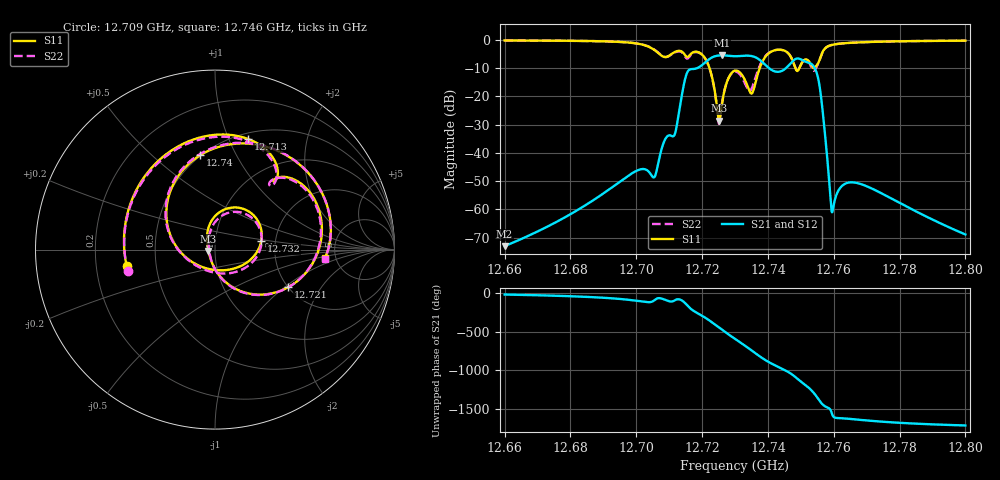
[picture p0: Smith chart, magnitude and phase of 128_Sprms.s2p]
! TOUCHSTONE file generated by CST MICROWAVE STUDIO
! Date and time: Wed Jul 31 17:15:51 2024
! Project name: WaveGuide_BPF-Ver4.1_U-shape_Ku_T3_C4_CWA_2.cst
! Parameters = {cavity_h=16; cavity_l0=10; cavity_l1=15.1802; cavity_l2=16.8472; cavity_l3=17.1051; cavity_l4=17.2406; cavity_l5=17.1155; cavity_l6=17.5807; cavity_r=2.5; cavity_screw_l=0.5; cavity_screw_r=1.5; cavity_w=8; iris_h00=0; iris_h01=8.8005; iris_h112=0; iris_h12=5.6124; iris_h211=3.6663; 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
! Header version: 2018
! Port assignment regex: !\s*Touchstone port\s*([0-9]+)\s*=\s*(CST MWS port|CST DS port)\s*([0-9]+|Zmin|Zmax)\s*\(\"(.*)\"\)(\s*mode\s*([0-9]+))?.*
! Touchstone port assignment:
! Touchstone port 1 = CST MWS port 1 ("")
! Touchstone port 2 = CST MWS port 2 ("")
# GHz S RI R 50
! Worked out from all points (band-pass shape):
!   5001 points, 12.66 GHz to 12.8 GHz, reference 50 ohm
!   highest |S21| = -5.42 dB at 12.726 GHz (marker M1); lowest = -73.1 dB at 12.66 GHz (marker M2)
!   |S21| within 3 dB of the highest: 12.72046 GHz to 12.73887 GHz (18.41 MHz wide, 0.145 % of centre); 12.74677 GHz to 12.75313 GHz (6.352 MHz wide, 0.0498 % of centre)
!   lowest |S11| = -28.6 dB at 12.725 GHz (marker M3), VSWR 1.08, Z = 46.5 - j0.664 ohm
!   |S11| at or under -10 dB: 12.72227 GHz to 12.7375 GHz (15.23 MHz wide, 0.12 % of centre); 12.74835 GHz to 12.74953 GHz (1.184 MHz wide, 0.00928 % of centre)
!   |S22| runs from -29.7 to -0.1 dB; largest |S21 - S12| = 1e-09
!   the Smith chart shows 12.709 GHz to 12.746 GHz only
!   S11 on the Smith chart (normalised r, x): 12.709 GHz: 0.34, -0.08; 12.713 GHz: 0.56, +1.18; 12.721 GHz: 2.01, -1.06; 12.732 GHz: 1.68, +0.17; 12.74 GHz: 0.49, +0.73; 12.746 GHz: 4.08, -0.62
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12.66  0.2144 0.9603  0.000213 -6.4e-05  0.000213 -6.4e-05  0.2225 0.9584
12.68335  0.5934 0.7618  0.000769 -0.000742  0.000769 -0.000742  0.6018 0.7552
12.70038  0.8633 -0.0505  -0.000768 -0.00484  -0.000768 -0.00484  0.8644 -0.0589
12.70668  -0.0103 -0.5889  0.00291 -0.00589  0.00291 -0.00589  0.00703 -0.5988
12.70903  -0.4924 -0.0899  0.000191 -0.0184  0.000191 -0.0184  -0.4861 -0.119
12.71331  0.1866 0.6155  0.00923 -0.0681  0.00923 -0.0681  0.186 0.6009
12.7165  0.3875 0.4051  -0.2868 0.1018  -0.2868 0.1018  0.3647 0.4007
12.72107  0.4087 -0.2091  0.3116 0.2615  0.3116 0.2615  0.4046 -0.2121
12.72518  -0.0367 -0.00714  0.0424 -0.5317  0.0424 -0.5317  -0.033 0.000365
12.726  -0.0446 0.0567  -0.1914 -0.5004  -0.1914 -0.5004  -0.0335 0.0651
12.73  0.2086 0.1971  -0.3231 0.4032  -0.3231 0.4032  0.2358 0.142
12.73162  0.2579 0.0483  0.0745 0.5161  0.0745 0.5161  0.2388 -0.0287
12.73462  0.0232 -0.1154  0.5199 -0.0741  0.5199 -0.0741  -0.0603 -0.1109
12.73955  -0.0832 0.5254  -0.3157 -0.1478  -0.3157 -0.1478  -0.0709 0.5398
12.74574  0.6123 -0.0476  0.1115 0.3082  0.1115 0.3082  0.611 -0.0534
12.75036  0.393 -0.0638  0.1057 -0.4318  0.1057 -0.4318  0.3875 -0.0824
12.75335  0.2694 -0.2136  -0.3706 0.0264  -0.3706 0.0264  0.2351 -0.21
12.75584  0.4528 -0.1218  0.1058 0.0821  0.1058 0.0821  0.4527 -0.1132
12.7596  0.43 -0.7033  -0.00067 -0.000614  -0.00067 -0.000614  0.4215 -0.7064
12.76466  -0.0912 -0.8862  -0.00296 0.0004  -0.00296 0.0004  -0.1056 -0.8844
12.77668  -0.7704 -0.5445  -0.00104 0.00128  -0.00104 0.00128  -0.7789 -0.533
12.8  -0.9687 0.1172  2.32e-05 0.000357  2.32e-05 0.000357  -0.9677 0.1272
